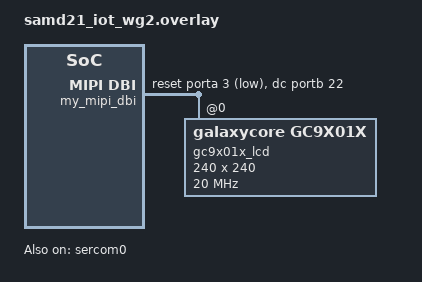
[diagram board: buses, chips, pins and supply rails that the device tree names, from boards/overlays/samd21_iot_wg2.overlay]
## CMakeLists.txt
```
cmake_minimum_required(VERSION 3.20.0)

# ------------------------------------------------------------
# Board-specific DTS overlays (MUST be set before Zephyr)
# ------------------------------------------------------------
if(DEFINED BOARD)
  if(BOARD STREQUAL "same54_xpro")
    list(APPEND DTC_OVERLAY_FILE
      ${CMAKE_CURRENT_SOURCE_DIR}/boards/overlays/same54_xpro.overlay
    )
  elseif(BOARD STREQUAL "samd21_iot_wg")
    list(APPEND DTC_OVERLAY_FILE
      ${CMAKE_CURRENT_SOURCE_DIR}/boards/overlays/samd21_iot_wg.overlay
    )
  elseif(BOARD STREQUAL "samd21_iot_wg2")
    list(APPEND DTC_OVERLAY_FILE
      ${CMAKE_CURRENT_SOURCE_DIR}/boards/overlays/samd21_iot_wg2.overlay
    )
    elseif(BOARD STREQUAL "samd21_xpro_ot")
    list(APPEND DTC_OVERLAY_FILE
      ${CMAKE_CURRENT_SOURCE_DIR}/boards/overlays/samd21_xpro_ot.overlay
    )
  endif()

endif()

find_package(Zephyr REQUIRED HINTS $ENV{ZEPHYR_BASE})

project(mchp_round_gfx)

target_include_directories(app PRIVATE ${CMAKE_CURRENT_SOURCE_DIR}/include)

target_sources(app PRIVATE
    src/main.c
    src/bubble_level.c
    src/imu_chart.c 
    src/imu_text.c
)
```

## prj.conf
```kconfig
# Enable console output
CONFIG_PRINTK=y
CONFIG_NEWLIB_LIBC=y
CONFIG_CBPRINTF_FP_SUPPORT=y

# Configure SPI
CONFIG_GPIO=y
CONFIG_SPI=y

# Sensor subsystem
CONFIG_SENSOR=y

# ICM42688 driver
CONFIG_ICM4268X=y
CONFIG_ICM4268X_DECODER=y
CONFIG_ICM4268X_TRIGGER_GLOBAL_THREAD=y

CONFIG_LOG=y
CONFIG_SENSOR_LOG_LEVEL_DBG=y
CONFIG_PINCTRL_LOG_LEVEL_DBG=y 

CONFIG_INPUT=y
CONFIG_GPIO_SAM0=y

CONFIG_MAIN_STACK_SIZE=4096
CONFIG_SYSTEM_WORKQUEUE_STACK_SIZE=4096

CONFIG_DISPLAY=y
CONFIG_DISPLAY_LOG_LEVEL_ERR=y

CONFIG_LVGL=y
CONFIG_LV_Z_MEM_POOL_SIZE=40000
CONFIG_LV_Z_VDB_SIZE=20

# Display needs data in BGR format, with endianess swapped for SPI
CONFIG_LV_COLOR_DEPTH_16=y
CONFIG_LV_COLOR_16_SWAP=y

CONFIG_SYS_CLOCK_EXISTS=y
CONFIG_TICKLESS_KERNEL=n
CONFIG_LV_CONF_MINIMAL=y
CONFIG_LV_USE_LABEL=y
CONFIG_LV_USE_BUTTON=y
CONFIG_LV_USE_ARC=n
CONFIG_LV_USE_BAR=n
CONFIG_LV_USE_CHART=y
CONFIG_LV_USE_DROPDOWN=n
CONFIG_LV_USE_IMAGE=y
CONFIG_LV_USE_SLIDER=n
CONFIG_LV_USE_TEXTAREA=n
CONFIG_LV_USE_CANVAS=n
# CONFIG_LV_USE_ANIMATION=n
CONFIG_LV_USE_THEME_MONO=n
# CONFIG_LV_USE_DRAW_SW_COMPLEX=n
CONFIG_LV_USE_THEME_DEFAULT=y
```

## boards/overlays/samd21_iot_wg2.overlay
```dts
#include <zephyr/dt-bindings/display/panel.h>

/{
    aliases {
        spi0 = &sercom0; 
    };

    chosen {
        zephyr,display = &gc9x01x_lcd;
    };

};

&porta {
    status = "okay";
};

/*************************************************************
                Mikroe socket connections for 
                Adafruit EyeSPI display

       1  NC                    16  BACKLIGHT PB23
       2  TFT_RST PA03          15  TFT_DC    PB22
       3  TFT_CS  PA06          14  CARD_CS   PA09
       4  SCK     PA05          13  NC
       5  MISO    PA07          12  NC
       6  MOSI    PA04          11  NC
       7  +3V3                  10  +5V  
       8  GND                   9   GND

 *************************************************************/

&sercom0 {
    status = "okay";

    /* Use SPI SS pin as GPIO CS */
    cs-gpios = <&porta 6 GPIO_ACTIVE_LOW>;

    my_mipi_dbi {
        compatible = "zephyr,mipi-dbi-spi";
        status = "okay";
        #address-cells = <1>;
        #size-cells = <0>;
        spi-dev = <&sercom0>;
        dc-gpios = <&portb 22 GPIO_ACTIVE_HIGH>;
        reset-gpios = <&porta 3 GPIO_ACTIVE_LOW>;

        gc9x01x_lcd: gc9x01x_lcd@0 {
            compatible = "galaxycore,gc9x01x";
            reg = <0>;
            mipi-max-frequency = <20000000>;
            pixel-format = <PANEL_PIXEL_FORMAT_RGB_565>;
            width = <240>;
            height = <240>;
            display-inversion;
        };
    };
};
```

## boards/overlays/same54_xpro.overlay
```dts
#include <zephyr/dt-bindings/display/panel.h>

/{
    aliases {
        spi4 = &sercom4;
    };

    chosen {
        zephyr,display = &gc9x01x_lcd;
    };   
};

/*************************************************************
                Mikroe socket connections for 
                Adafruit EyeSPI display

       1  NC                    16  BACKLIGHT   PB08
       2  TFT_RST   PA06        15  TFT_DC      PB07
       3  TFT_CS    PB28        14  CARD_CS     PA05
       4  SCK       PB26        13  NC
       5  MISO      PB29        12  NC
       6  MOSI      PB27        11  NC
       7  +3V3                  10  +5V  
       8  GND                   9   GND

 *************************************************************/

&sercom4 {
    status = "okay";

    /* Use SPI SS pin as GPIO CS */
    cs-gpios = <&portb 28 GPIO_ACTIVE_LOW>;

    my_mipi_dbi {
        compatible = "zephyr,mipi-dbi-spi";
        status = "okay";
        #address-cells = <1>;
        #size-cells = <0>;
        spi-dev = <&sercom4>;
        dc-gpios = <&portb 7 GPIO_ACTIVE_HIGH>;
        reset-gpios = <&porta 6 GPIO_ACTIVE_LOW>;

        gc9x01x_lcd: gc9x01x_lcd@0 {
            compatible = "galaxycore,gc9x01x";
            reg = <0>;
            mipi-max-frequency = <20000000>;
            pixel-format = <PANEL_PIXEL_FORMAT_RGB_565>;
            width = <240>;
            height = <240>;
            display-inversion;
        };
    };
};
```

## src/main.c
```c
/*
 * Main application for IMU visualization on a round display.
 *
 * This program initializes an IMU sensor, display, and LVGL UI to show
 * accelerometer data in three modes: bubble level, rolling chart, and text.
 * Button presses cycle between screens.
 */
 #include <zephyr/kernel.h>
#include <zephyr/sys/printk.h>
#include <zephyr/drivers/gpio.h>
#include <zephyr/input/input.h>
#include <zephyr/device.h>
#include <zephyr/drivers/sensor.h>
#include <zephyr/drivers/display.h>
#include <zephyr/drivers/spi.h>
#include <lvgl.h>
#include <soc.h>
#include <stdio.h>
#include <stdlib.h>
#include "bubble_level.h"
#include "imu_chart.h"
#include "imu_text.h"

#define SLEEP_TIME_MS 10  /* Main loop sleep time */

static struct sensor_trigger imu_trigger;
static volatile int irq_from_sensor = 0;  /* Flag set by IMU interrupt */

static volatile int irq_from_button = 0;  /* Flag set by button interrupt */
static bool button_pressed = false;  /* Current button state */

static const struct gpio_dt_spec led = GPIO_DT_SPEC_GET(DT_ALIAS(led0), gpios);

static const struct gpio_dt_spec switch0 = GPIO_DT_SPEC_GET(DT_ALIAS(sw0), gpios);
static const struct gpio_dt_spec switch1 = GPIO_DT_SPEC_GET_OR(DT_ALIAS(sw1), gpios, {0});
static const struct device *imu = DEVICE_DT_GET(DT_ALIAS(imusensor));

/* Static storage for the LVGL screens */
static lv_obj_t *bubble_screen = NULL;
static lv_obj_t *chart_screen = NULL;
static lv_obj_t *text_screen = NULL;

typedef enum {
    SCREEN_LEVEL = 0,
    SCREEN_CHART,
    SCREEN_TEXT
} screen_mode_t;

static screen_mode_t current_screen = SCREEN_LEVEL;

/*
 * IMU data-ready interrupt handler.
 * Fetches sensor data when triggered.
 */
static void handle_imu_trigger(const struct device *dev, const struct sensor_trigger *trig)
{
    if (trig->type == SENSOR_TRIG_DATA_READY) {
        int rc = sensor_sample_fetch_chan(dev, trig->chan);

        if (rc < 0) {
            printk("Failed to fetch sensor data: %d\n", rc);
            return;
        } else if (rc == 0) {
            irq_from_sensor = 1;  /* Signal main loop to process data */
        }
    }
}

void heartbeat_thread(void)
{
    while (1) {
        gpio_pin_set_dt(&led, 1);
        k_msleep(100);

        gpio_pin_set_dt(&led, 0);
        k_msleep(100);

        gpio_pin_set_dt(&led, 1);
        k_msleep(100);

        gpio_pin_set_dt(&led, 0);
        k_msleep(700);
    }
}

K_THREAD_DEFINE(heartbeat_tid, 512, heartbeat_thread, NULL, NULL, NULL,
                7, 0, 0);

/*
 * LVGL input device read callback for button input.
 * Maps GPIO button state to LVGL touch events.
 */
static void lv_button_read(lv_indev_t * indev_drv, lv_indev_data_t * data)
{
    button_pressed = gpio_pin_get_dt(&switch0) == 1;
    data->state = button_pressed ? LV_INDEV_STATE_PRESSED : LV_INDEV_STATE_RELEASED;
    data->point.x = 120;  /* Dummy touch coordinates */
    data->point.y = 160;
}

/*
 * Button input event callback (legacy, not used for LVGL).
 */
static void button_input_cb(struct input_event *evt, void *user_data)
{
    if (evt->sync == 0) {
        return;
    }

    irq_from_button = 1;
    printk("Button %d %s\n", evt->code, evt->value ? "pressed" : "released");
}

INPUT_CALLBACK_DEFINE(NULL, button_input_cb, NULL);

int main(void)
{
    struct sensor_value accel[3];
    struct sensor_value gyro[3];
    struct sensor_value temperature;
    int ret;

    printk("Application started\n");

    /* Initialize LED GPIO */
    if (!gpio_is_ready_dt(&led)) {
        return 0;
    }

    ret = gpio_pin_configure_dt(&led, GPIO_OUTPUT_ACTIVE);
    if (ret < 0) {
        return 0;
    }

    /* Enable button interrupts */
    if (device_is_ready(switch0.port)) {
        gpio_pin_interrupt_configure_dt(&switch0, GPIO_INPUT);
    }

    if (device_is_ready(switch1.port)) {
        gpio_pin_interrupt_configure_dt(&switch1, GPIO_INPUT);
    }

    /* Configure the IMU device */
    if (imu == NULL) {
        printk("IMU device not found\n");
        return 0;
    }
    printf("Device %p name is %s\n", imu, imu->name);

    if (device_is_ready(imu)) {
        printk("IMU device is ready\n");
    } else {
        printk("IMU device is not ready\n");
        return 0;
    }

    /* Set up IMU data-ready trigger */
    imu_trigger = (struct sensor_trigger){
        .type = SENSOR_TRIG_DATA_READY,
        .chan = SENSOR_CHAN_ALL,
    };
    ret = sensor_trigger_set(imu, &imu_trigger, handle_imu_trigger);
    if (ret == 0) {
        printk("IMU trigger set successfully\n");
    } else {
        printk("Failed to set IMU trigger (%d)\n", ret);
    }

    /* Initialize display and LVGL */
    const struct device *display_dev;

    display_dev = DEVICE_DT_GET(DT_CHOSEN(zephyr_display));
    if (!device_is_ready(display_dev)) {
        printk("Device not ready, aborting test\n");
        return 0;
    }

    display_set_pixel_format(display_dev, PIXEL_FORMAT_RGB_565);
    display_blanking_off(display_dev);

    /* Create LVGL input device for button */
    lv_indev_t *indev = lv_indev_create();
    lv_indev_set_type(indev, LV_INDEV_TYPE_POINTER);
    lv_indev_set_read_cb(indev, lv_button_read);

    struct display_capabilities caps;
    display_get_capabilities(display_dev, &caps);
    uint16_t width = caps.x_resolution;
    uint16_t height = caps.y_resolution;
    printk("Display size: %dx%d\n", width, height);

    /* ======== LVGL Screen Initialization ======== */
    /* Create bubble level screen */
    bubble_screen = lv_obj_create(NULL);
    lv_scr_load(bubble_screen);
    bubble_level_init(bubble_screen);

    /* Temporary welcome label */
    lv_obj_t *label = lv_label_create(lv_screen_active());
    lv_label_set_text(label, "Hello Zephyr + LVGL!");
    lv_obj_center(label);

    /* Temporary next button */
    lv_obj_t *btn = lv_button_create(lv_screen_active());
    lv_obj_set_size(btn, 80, 40);
    lv_obj_align(btn, LV_ALIGN_CENTER, 0, 60);

    lv_obj_t *btn_label = lv_label_create(btn);
    lv_label_set_text(btn_label, "Next");
    lv_obj_center(btn_label);

    /* Create chart screen */
    chart_screen = lv_obj_create(NULL);
    imu_chart_init(chart_screen);

    /* Create text screen */
    text_screen = lv_obj_create(NULL);
    imu_text_init(text_screen);

    /* Main application loop */
    while (1) {
        /* Process IMU data if available */
        if (irq_from_sensor) {
            sensor_channel_get(imu, SENSOR_CHAN_ACCEL_XYZ, accel);
            sensor_channel_get(imu, SENSOR_CHAN_GYRO_XYZ, gyro);
            sensor_channel_get(imu, SENSOR_CHAN_DIE_TEMP, &temperature);

            /* Update the current screen with accel data */
            switch(current_screen) {
                case SCREEN_LEVEL:
                    update_bubble_physics(&accel[0], &accel[1], &accel[2]);
                    break;
                case SCREEN_CHART:
                    update_imu_chart(&accel[0], &accel[1], &accel[2]);
                    break;
                case SCREEN_TEXT:
                    update_imu_text(&accel[0], &accel[1], &accel[2]);
                    break;
            }
            irq_from_sensor = 0;
        }

        /* Toggle LED */
        // ret = gpio_pin_toggle_dt(&led);
        // if (ret < 0) {
        //     return 0;
        // }

        /* Handle button press to switch screens */
        if (irq_from_button) {
            irq_from_button = 0;
            button_pressed = gpio_pin_get_dt(&switch0) == 1;
            /* Remove welcome UI elements on first press */
            if (label != NULL) {
                lv_obj_del(label);
                label = NULL;
            }
            if (btn != NULL) {
                lv_obj_del(btn);
                btn = NULL;
            }

            if (button_pressed) {
                current_screen = (current_screen + 1) % 3;

                /* Load the new screen */
                switch(current_screen) {
                    case SCREEN_LEVEL:
                        lv_scr_load(bubble_screen);
                        break;
                    case SCREEN_CHART:
                        lv_scr_load(chart_screen);
                        break;
                    case SCREEN_TEXT:
                        lv_scr_load(text_screen);
                        break;
                }
            }
        }

        /* Run LVGL timer handler for UI updates */
        lv_timer_handler();

        k_msleep(SLEEP_TIME_MS);
    }

    return 0;
}
```

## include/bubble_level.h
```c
#ifndef BUBBLE_LEVEL_H
#define BUBBLE_LEVEL_H

#include <zephyr/drivers/sensor.h>
#include <lvgl.h>
#include <stdint.h>

/* Call once to initialize bubble variables */
lv_obj_t* bubble_level_init(lv_obj_t *parent);

/* Call every IMU update */
void update_bubble_physics(struct sensor_value *ax_sv,
                           struct sensor_value *ay_sv,
                           struct sensor_value *az_sv);                    

#endif /* BUBBLE_LEVEL_H */
```

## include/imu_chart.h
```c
/**
 * @file imu_chart.h
 *
 * Helper APIs for rendering a rolling IMU acceleration chart using LVGL.
 * This module creates a small oscilloscope-style chart that plots the
 * X/Y/Z accelerometer channels in real time.
 */
#ifndef IMU_CHART_H
#define IMU_CHART_H

#include <zephyr/drivers/sensor.h>
#include <lvgl.h>
#include <stdint.h>

/**
 * Initialize the IMU chart.
 *
 * This must be called once before calling update_imu_chart(). The returned
 * object is the same parent that was passed in, which allows chaining in the
 * caller if desired.
 *
 * @param parent The LVGL object to contain the chart.
 * @return The same parent object passed in.
 */
lv_obj_t* imu_chart_init(lv_obj_t *parent);

/**
 * Push new IMU samples into the chart.
 *
 * This should be called whenever a new accelerometer sample is available.
 * Only the integer part (val1) of each sensor_value is used.
 *
 * @param ax_sv Pointer to X-axis accelerometer value.
 * @param ay_sv Pointer to Y-axis accelerometer value.
 * @param az_sv Pointer to Z-axis accelerometer value.
 */
void update_imu_chart(struct sensor_value *ax_sv,
                      struct sensor_value *ay_sv,
                      struct sensor_value *az_sv);

#endif /* IMU_CHART_H */
```

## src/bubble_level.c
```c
#include <zephyr/kernel.h>
#include <zephyr/sys/printk.h>
#include <stdlib.h>
#include <stdio.h>
#include <lvgl.h>
#include <math.h>
#include "bubble_level.h"

/*
 * Bubble-level visualization constants.
 *
 * SCALE: fixed-point Q15 scale factor used for normalized tilt.
 * RADIUS: radius (in pixels) of the allowable bubble travel circle.
 * BUBBLE_SIZE: diameter of the bubble widget.
 * LEVEL_SIZE: overall size of the level widget.
 */
#define SCALE           32768
#define RADIUS          94
#define RADIUS2        (RADIUS * RADIUS)
#define BUBBLE_SIZE     28
#define LEVEL_SIZE      220

static lv_obj_t *level_bg;
static lv_obj_t *center_dot;
static lv_obj_t *bubble;

/*
 * Fast integer square-root (returns floor(sqrt(x))).
 *
 * This implementation is based on a binary search algorithm and avoids
 * floating-point math, which is useful for constrained embedded systems.
 */
static int32_t isqrt(int64_t x)
{
    int64_t res = 0;
    int64_t bit = (int64_t)1 << 30; /* largest power of four <= 2^63 */

    while (bit > x) {
        bit >>= 2;
    }

    while (bit != 0) {
        if (x >= res + bit) {
            x -= res + bit;
            res = (res >> 1) + bit;
        } else {
            res >>= 1;
        }
        bit >>= 2;
    }

    return (int32_t)res;
}

/**
 * Create the outer level background.
 *
 * This sets up the circular background gradient and border for the overall
 * bubble level UI.
 */
void level_create(lv_obj_t *parent)
{
    level_bg = lv_obj_create(parent);
    lv_obj_set_size(level_bg, LEVEL_SIZE, LEVEL_SIZE);
    lv_obj_center(level_bg);

    lv_obj_set_style_radius(level_bg, LV_RADIUS_CIRCLE, 0);

    lv_obj_set_style_bg_color(level_bg, lv_color_hex(0x0a3d62), 0);
    lv_obj_set_style_bg_grad_color(level_bg, lv_color_hex(0x1e90ff), 0);
    lv_obj_set_style_bg_grad_dir(level_bg, LV_GRAD_DIR_VER, 0);

    lv_obj_set_style_border_width(level_bg, 4, 0);
    lv_obj_set_style_border_color(level_bg, lv_color_hex(0x444444), 0);
}

/**
 * Create a ring at the given size inside the level background.
 *
 * Rings serve as reference markers to help the user judge tilt amount.
 */
void create_ring(int size)
{
    lv_obj_t *ring = lv_obj_create(level_bg);

    lv_obj_set_size(ring, size, size);
    lv_obj_center(ring);

    lv_obj_set_style_radius(ring, LV_RADIUS_CIRCLE, 0);
    lv_obj_set_style_bg_opa(ring, LV_OPA_TRANSP, 0);

    lv_obj_set_style_border_color(ring, lv_color_hex(0xffffff), 0);
    lv_obj_set_style_border_width(ring, 2, 0);
    lv_obj_set_style_border_opa(ring, LV_OPA_40, 0);
}

/**
 * Create a small center dot to show the true center point of the level.
 */
void create_center()
{
    center_dot = lv_obj_create(level_bg);

    lv_obj_set_size(center_dot, 8, 8);
    lv_obj_center(center_dot);

    lv_obj_set_style_radius(center_dot, LV_RADIUS_CIRCLE, 0);
    lv_obj_set_style_bg_color(center_dot, lv_color_hex(0xffffff), 0);
}

/**
 * Create the movable bubble object.
 */
void create_bubble()
{
    bubble = lv_obj_create(level_bg);

    lv_obj_set_size(bubble, BUBBLE_SIZE, BUBBLE_SIZE);
    lv_obj_set_style_radius(bubble, LV_RADIUS_CIRCLE, 0);

    /* Bubble styling */
    lv_obj_set_style_bg_color(bubble, lv_color_hex(0xffffff), 0);
    lv_obj_set_style_bg_grad_color(bubble, lv_color_hex(0xdddddd), 0);
    lv_obj_set_style_bg_grad_dir(bubble, LV_GRAD_DIR_VER, 0);

    lv_obj_set_style_border_color(bubble, lv_color_hex(0x888888), 0);
    lv_obj_set_style_border_width(bubble, 2, 0);

    /* Shadow disabled for performance / clarity */
    lv_obj_set_style_shadow_width(bubble, 0, 0);
    // lv_obj_set_style_shadow_opa(bubble, LV_OPA_40, 0);

    /* Start bubble centered */
    lv_obj_set_pos(bubble, LEVEL_SIZE / 2 - BUBBLE_SIZE / 2,
                   LEVEL_SIZE / 2 - BUBBLE_SIZE / 2);
}

lv_obj_t* bubble_level_init(lv_obj_t *parent)
{
    if (parent == NULL) {
        return NULL;
    }

    level_create(parent);
    create_ring(160);
    create_ring(110);
    create_ring(60);

    create_center();
    create_bubble();

    return parent;
}

/**
 * Update the bubble's position based on IMU accelerometer readings.
 *
 * The algorithm converts accelerometer values into a normalized tilt vector
 * and maps that to a pixel displacement within the circle.
 */
void update_bubble_physics(struct sensor_value *ax_sv,
                          struct sensor_value *ay_sv,
                          struct sensor_value *az_sv)
{
    /* Convert sensor values (µg scaled) into raw integers */
    int64_t ax = -((int64_t)ax_sv->val1 * 1000000 + ax_sv->val2);
    int64_t ay = (int64_t)ay_sv->val1 * 1000000 + ay_sv->val2;
    int64_t az = (int64_t)az_sv->val1 * 1000000 + az_sv->val2;

    /* Compute a fast magnitude approximation (L1 norm) */
    int64_t mag = llabs(ax) + llabs(ay) + llabs(az);
    if (mag == 0) {
        return;
    }

    /* Normalize tilt into Q15 fixed-point space */
    int32_t nx = (-ax * SCALE) / mag;
    int32_t ny = (-ay * SCALE) / mag;

    /* Convert normalized tilt into pixel displacement within the level circle. */
    int target_x = (nx * RADIUS) / SCALE;
    int target_y = (ny * RADIUS) / SCALE;

    /* Clamp bubble movement to within the circle radius */
    int32_t dist2 = target_x * target_x + target_y * target_y;
    if (dist2 > RADIUS2) {
        int32_t dist = isqrt(dist2);
        target_x = (target_x * RADIUS) / dist;
        target_y = (target_y * RADIUS) / dist;
    }

    /* Smooth the motion to give a liquid-like response */
    static int bubble_x = 0;
    static int bubble_y = 0;
    bubble_x = (bubble_x * 5 + target_x * 3) / 8;
    bubble_y = (bubble_y * 5 + target_y * 3) / 8;

    /* Translate to LVGL coordinates (centered in the parent) */
    int parent_center_x = lv_obj_get_content_width(level_bg) / 2;
    int parent_center_y = lv_obj_get_content_height(level_bg) / 2;
    int x = parent_center_x + bubble_x - lv_obj_get_width(bubble) / 2;
    int y = parent_center_y + bubble_y - lv_obj_get_height(bubble) / 2;

    lv_obj_set_pos(bubble, x, y);

    /* Change bubble color when level (approx ±2 degrees) */
    if (llabs(nx) < SCALE / 40 && llabs(ny) < SCALE / 40) {
        lv_obj_set_style_bg_color(bubble, lv_color_hex(0x00ff88), 0);
    } else {
        lv_obj_set_style_bg_color(bubble, lv_color_white(), 0);
    }
}
```

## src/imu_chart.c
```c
/*
 * A simple LVGL chart implementation that plots IMU acceleration
 * values (AX/AY/AZ) over time.
 *
 * The chart is configured as a circular rolling buffer, where new values
 * replace the oldest ones.  This gives an "oscilloscope" feel.
 */
#include <zephyr/kernel.h>
#include <zephyr/sys/printk.h>
#include <stdlib.h>
#include <stdio.h>
#include <lvgl.h>
#include <math.h>
#include "imu_chart.h"

static lv_obj_t *chart;
static lv_chart_series_t *ser_ax;
static lv_chart_series_t *ser_ay;
static lv_chart_series_t *ser_az;

lv_obj_t* imu_chart_init(lv_obj_t *parent)
{
    /* Create a chart object as a child of the given parent */
    chart = lv_chart_create(parent);

    /* Give the chart a fixed size and center it */
    lv_obj_set_size(chart, 200, 200);
    lv_obj_center(chart);

    /*
     * Use a dark background and minimal border to look like an oscilloscope.
     */
    lv_obj_set_style_bg_color(chart, lv_color_black(), 0);
    lv_obj_set_style_bg_opa(chart, LV_OPA_COVER, 0);
    lv_obj_set_style_border_width(chart, 1, 0);
    lv_obj_set_style_border_color(chart, lv_color_hex(0x444444), 0);

    /* Grid lines for reference */
    lv_chart_set_div_line_count(chart, 6, 6);

    lv_obj_set_style_line_color(chart, lv_color_hex(0x333333), LV_PART_MAIN);
    lv_obj_set_style_line_width(chart, 1, LV_PART_MAIN);

    /* Use circular update mode so the chart scrolls continuously */
    lv_chart_set_update_mode(chart, LV_CHART_UPDATE_MODE_CIRCULAR);
    lv_obj_set_style_size(chart, 0, 0, LV_PART_INDICATOR);

    /* 120 points per series, with a Y range matching normal accel values */
    lv_chart_set_point_count(chart, 120);
    lv_chart_set_range(chart, LV_CHART_AXIS_PRIMARY_Y, -15, 15);

    /* Add three series for X/Y/Z axes, each with a distinct color */
    ser_ax = lv_chart_add_series(chart, lv_palette_main(LV_PALETTE_RED), LV_CHART_AXIS_PRIMARY_Y);
    ser_ay = lv_chart_add_series(chart, lv_palette_main(LV_PALETTE_GREEN), LV_CHART_AXIS_PRIMARY_Y);
    ser_az = lv_chart_add_series(chart, lv_palette_main(LV_PALETTE_BLUE), LV_CHART_AXIS_PRIMARY_Y);

    return parent;
}

/**
 * update_imu_chart - add new accelerometer values to the chart
 *
 * This is intended to be called whenever a new IMU sample is available.
 * It pushes the values into the chart series and then clears a few points
 * ahead of the write cursor to avoid visual ghosting artifacts.
 */
void update_imu_chart(struct sensor_value *ax_sv,
                           struct sensor_value *ay_sv,
                           struct sensor_value *az_sv)
{
    /* Use only the integer component (val1) from the sensor_value */
    int32_t ax_val = ax_sv->val1;
    int32_t ay_val = ay_sv->val1;
    int32_t az_val = az_sv->val1;

    /* Append new samples to each series */
    lv_chart_set_next_value(chart, ser_ax, ax_val);
    lv_chart_set_next_value(chart, ser_ay, ay_val);
    lv_chart_set_next_value(chart, ser_az, az_val);

    /*
     * LVGL leaves old points behind when using circular mode.  Clearing a few
     * points ahead of the cursor prevents "ghosting" where remnants of old
     * data remain visible after the chart wraps around.
     */
    uint32_t point_count = lv_chart_get_point_count(chart);
    uint32_t start_idx = lv_chart_get_x_start_point(chart, ser_ax);

    int32_t *sx = lv_chart_get_series_y_array(chart, ser_ax);
    int32_t *sy = lv_chart_get_series_y_array(chart, ser_ay);
    int32_t *sz = lv_chart_get_series_y_array(chart, ser_az);

    for (int i = 1; i <= 3; i++) {
        sx[(start_idx + i) % point_count] = LV_CHART_POINT_NONE;
        sy[(start_idx + i) % point_count] = LV_CHART_POINT_NONE;
        sz[(start_idx + i) % point_count] = LV_CHART_POINT_NONE;
    }

    /* Force a redraw so the new points appear immediately */
    lv_chart_refresh(chart);
}
```
